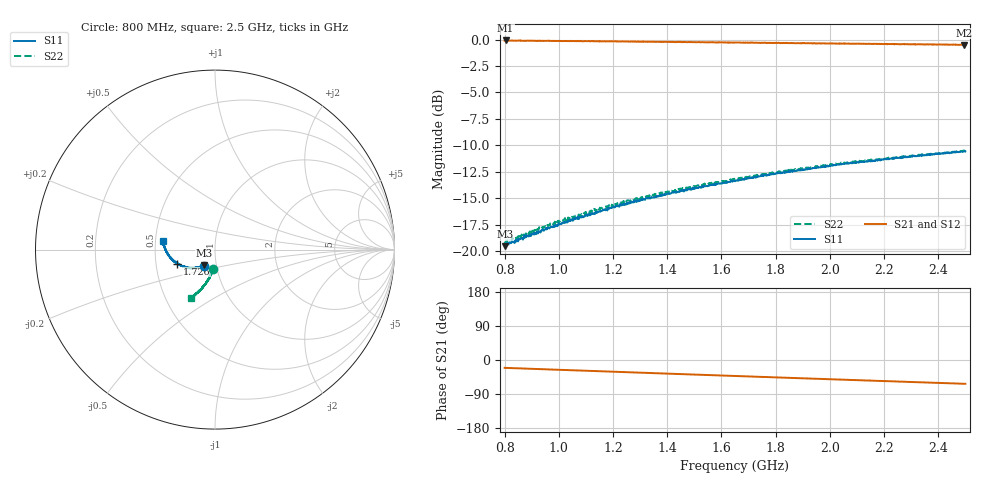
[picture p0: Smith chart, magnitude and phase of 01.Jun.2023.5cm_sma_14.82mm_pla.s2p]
!Keysight Technologies N9950B: A.12.38
!Date: Thursday, 01 June 2023 12:15:42
!Timezone: (UTC-06:00) Central Time (US & Canada)
!Model: N9950B
!Serial: MY61131330
!GPS Latitude:
!GPS Longitude:
!GPS TimeStamp: 0001-01-01 00:00:00Z
!GPS Seconds Since Last Read: 0
!CHECKSUM:0726821476
!Correction: S11(ON U)S21(ON U)S12(ON U)S22(ON U)
!S2P File: Measurements:S11,S21,S12,S22:
# Hz S DB R 50
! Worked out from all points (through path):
!   1001 points, 800 MHz to 2.5 GHz, reference 50 ohm
!   highest |S21| = -0.08 dB at 803.4 MHz (marker M1); lowest = -0.5 dB at 2.497 GHz (marker M2)
!   group delay of S21, straight-line fit = 68.8 ps
!   lowest |S11| = -19.5 dB at 801.7 MHz (marker M3), VSWR 1.24, Z = 43.8 - j7.77 ohm
!   |S11| at or under -10 dB: start of sweep to end of sweep
!   |S22| runs from -19.3 to -10.5 dB; largest |S21 - S12| = 0.0056
!   S11 on the Smith chart (normalised r, x): 800 MHz: 0.87, -0.16; 1.726 GHz: 0.65, -0.11; 2.5 GHz: 0.55, +0.06
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8e8  -19.41 -124.1  -0.10 -20.7  -0.09 -20.7  -19.25 -96.9
8.017e8  -19.55 -123.8  -0.09 -20.8  -0.10 -20.7  -19.18 -96.9
8.034e8  -19.42 -124.9  -0.08 -20.8  -0.08 -20.8  -19.26 -96.8
9.598e8  -17.84 -130.2  -0.12 -24.8  -0.13 -24.9  -17.64 -98.6
9.853e8  -17.61 -131.6  -0.13 -25.4  -0.13 -25.4  -17.23 -99.2
1.0159e9  -17.33 -133.1  -0.13 -26.3  -0.13 -26.3  -17.13 -100.4
1.0839e9  -16.84 -135.2  -0.14 -28.1  -0.15 -27.9  -16.51 -100.3
1.1247e9  -16.51 -136.7  -0.15 -29.0  -0.15 -29.0  -16.19 -101.2
1.1944e9  -15.93 -139.2  -0.17 -30.7  -0.18 -30.7  -15.63 -100.8
1.2471e9  -15.56 -141.6  -0.18 -32.1  -0.20 -32.2  -15.33 -102.7
1.3678e9  -14.85 -146.2  -0.20 -35.1  -0.21 -35.1  -14.60 -104.0
1.4273e9  -14.43 -148.6  -0.23 -36.7  -0.25 -36.6  -14.34 -104.8
1.4511e9  -14.33 -149.7  -0.23 -37.1  -0.24 -37.1  -14.17 -105.0
1.65e9  -13.34 -157.2  -0.29 -42.1  -0.29 -42.2  -13.21 -108.4
1.7265e9  -12.98 -159.6  -0.31 -44.0  -0.30 -44.1  -12.85 -108.8
1.8047e9  -12.62 -162.7  -0.33 -46.0  -0.30 -45.9  -12.55 -109.7
1.9339e9  -12.16 -167.5  -0.34 -49.1  -0.35 -49.2  -12.06 -111.1
2.0529e9  -11.76 -172.0  -0.35 -52.0  -0.39 -52.0  -11.63 -112.4
2.2178e9  -11.32 -178.4  -0.42 -56.0  -0.43 -56.0  -11.23 -113.8
2.3657e9  -10.87 175.8  -0.45 -59.6  -0.46 -59.6  -10.87 -115.0
2.4966e9  -10.58 170.7  -0.50 -62.7  -0.51 -62.8  -10.51 -116.1
2.5e9  -10.58 170.7  -0.48 -62.8  -0.50 -62.9  -10.49 -116.4
